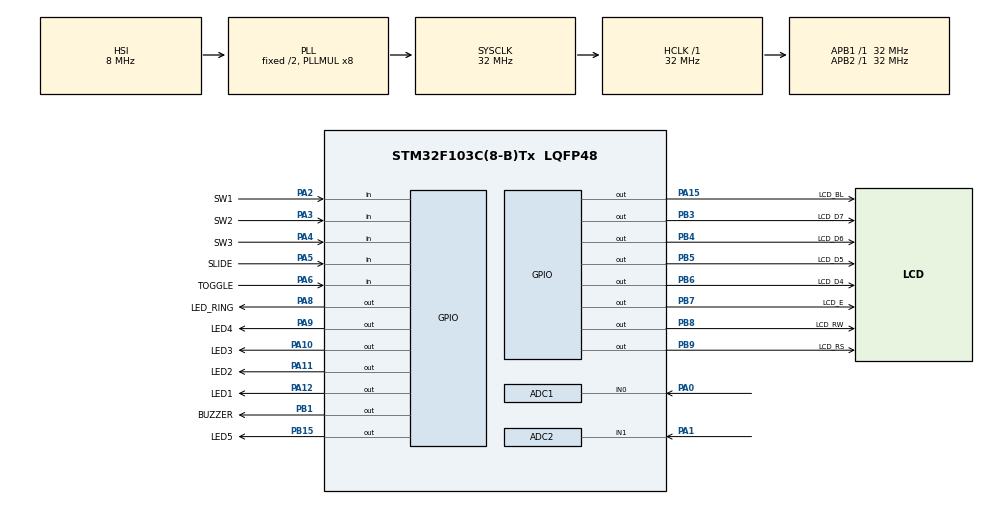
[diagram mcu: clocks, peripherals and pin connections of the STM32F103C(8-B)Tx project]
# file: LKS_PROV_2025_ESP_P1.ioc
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ADC1.Channel-0\#ChannelRegularConversion=ADC_CHANNEL_0
ADC1.ContinuousConvMode=ENABLE
ADC1.NbrOfConversionFlag=1
ADC1.Rank-0\#ChannelRegularConversion=1
ADC1.SamplingTime-0\#ChannelRegularConversion=ADC_SAMPLETIME_1CYCLE_5
ADC1.master=1
ADC2.Channel-0\#ChannelRegularConversion=ADC_CHANNEL_1
ADC2.ContinuousConvMode=ENABLE
ADC2.NbrOfConversionFlag=1
ADC2.Rank-0\#ChannelRegularConversion=1
ADC2.SamplingTime-0\#ChannelRegularConversion=ADC_SAMPLETIME_1CYCLE_5
Mcu.Family=STM32F1
Mcu.Name=STM32F103C(8-B)Tx
Mcu.Package=LQFP48
NVIC.PriorityGroup=NVIC_PRIORITYGROUP_4
PA0-WKUP.Signal=ADCx_IN0
PA1.Signal=ADCx_IN1
PA10.GPIO_Label=LED3
PA10.Signal=GPIO_Output
PA11.GPIO_Label=LED2
PA11.Signal=GPIO_Output
PA12.GPIO_Label=LED1
PA12.Signal=GPIO_Output
PA13.Mode=Serial_Wire
PA13.Signal=SYS_JTMS-SWDIO
PA14.Mode=Serial_Wire
PA14.Signal=SYS_JTCK-SWCLK
PA15.GPIO_Label=LCD_BL
PA15.Signal=GPIO_Output
PA2.GPIO_Label=SW1
PA2.GPIO_PuPd=GPIO_PULLUP
PA2.Signal=GPIO_Input
PA3.GPIO_Label=SW2
PA3.GPIO_PuPd=GPIO_PULLUP
PA3.Signal=GPIO_Input
PA4.GPIO_Label=SW3
PA4.GPIO_PuPd=GPIO_PULLUP
PA4.Signal=GPIO_Input
PA5.GPIO_Label=SLIDE
PA5.GPIO_PuPd=GPIO_PULLUP
PA5.Signal=GPIO_Input
PA6.GPIO_Label=TOGGLE
PA6.GPIO_PuPd=GPIO_PULLUP
PA6.Signal=GPIO_Input
PA8.GPIO_Label=LED_RING
PA8.Signal=GPIO_Output
PA9.GPIO_Label=LED4
PA9.Signal=GPIO_Output
PB1.GPIO_Label=BUZZER
PB1.Signal=GPIO_Output
PB15.GPIO_Label=LED5
PB15.Signal=GPIO_Output
PB3.GPIO_Label=LCD_D7
PB3.Signal=GPIO_Output
PB4.GPIO_Label=LCD_D6
PB4.Signal=GPIO_Output
PB5.GPIO_Label=LCD_D5
PB5.Signal=GPIO_Output
PB6.GPIO_Label=LCD_D4
PB6.Signal=GPIO_Output
PB7.GPIO_Label=LCD_E
PB7.Signal=GPIO_Output
PB8.GPIO_Label=LCD_RW
PB8.Signal=GPIO_Output
PB9.GPIO_Label=LCD_RS
PB9.Signal=GPIO_Output
PD0-OSC_IN.Mode=HSE-External-Oscillator
PD0-OSC_IN.Signal=RCC_OSC_IN
PD1-OSC_OUT.Mode=HSE-External-Oscillator
PD1-OSC_OUT.Signal=RCC_OSC_OUT
ProjectManager.HeapSize=0x200
ProjectManager.StackSize=0x400
ProjectManager.TargetToolchain=STM32CubeIDE
RCC.ADCPresc=RCC_ADCPCLK2_DIV4
RCC.AHBFreq_Value=32000000
RCC.APB1Freq_Value=32000000
RCC.APB1TimFreq_Value=32000000
RCC.APB2Freq_Value=32000000
RCC.APB2TimFreq_Value=32000000
RCC.HCLKFreq_Value=32000000
RCC.PLLMUL=RCC_PLL_MUL8
RCC.SYSCLKFreq_VALUE=32000000
RCC.SYSCLKSource=RCC_SYSCLKSOURCE_PLLCLK
RCC.USBFreq_Value=32000000
SH.ADCx_IN0.0=ADC1_IN0,IN0
SH.ADCx_IN1.0=ADC2_IN1,IN1
board=custom

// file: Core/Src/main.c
/* USER CODE BEGIN Header */
/**
  ******************************************************************************
  * @file           : main.c
  * @brief          : Main program body
  ******************************************************************************
  * @attention
  *
  * Copyright (c) 2024 STMicroelectronics.
  * All rights reserved.
  *
  * This software is licensed under terms that can be found in the LICENSE file
  * in the root directory of this software component.
  * If no LICENSE file comes with this software, it is provided AS-IS.
  *
  ******************************************************************************
  */
/* USER CODE END Header */
#include "main.h"

/* USER CODE BEGIN PD */
#define LCD_RS_Pin GPIO_PIN_9
#define LCD_RS_Port GPIOB
#define LCD_RW_Pin GPIO_PIN_8
#define LCD_RW_Port GPIOB
#define LCD_E_Pin GPIO_PIN_7
#define LCD_E_Port GPIOB
#define LCD_D4_Pin GPIO_PIN_6
#define LCD_D4_Port GPIOB
#define LCD_D5_Pin GPIO_PIN_5
#define LCD_D5_Port GPIOB
#define LCD_D6_Pin GPIO_PIN_4
#define LCD_D6_Port GPIOB
#define LCD_D7_Pin GPIO_PIN_3
#define LCD_D7_Port GPIOB
#define LCD_BL_Pin GPIO_PIN_15
#define LCD_BL_Port GPIOA
/* USER CODE END PD */

ADC_HandleTypeDef hadc1;
ADC_HandleTypeDef hadc2;

/* USER CODE BEGIN PV */
uint8_t maju = 0;
_Bool mA, mB, mC, mw4, mw5, pb1, pb2, pb3, buzzer;
uint32_t pot;
uint32_t pov;
char  lcd_buffer[15];
char lcd_bu[15];
uint32_t delay;
/* USER CODE END PV */

void SystemClock_Config(void);
static void MX_GPIO_Init(void);
static void MX_ADC1_Init(void);
static void MX_ADC2_Init(void);
/* USER CODE BEGIN PFP */
uint32_t read_ADC(){
	uint16_t adc;
	HAL_ADC_Start(&hadc2);
	HAL_ADC_PollForConversion(&hadc2, 100);
	adc=HAL_ADC_GetValue(&hadc2);
	HAL_ADC_Stop(&hadc2);

	return adc;
}
/* USER CODE END PFP */

/* USER CODE BEGIN 0 */
void lcd_bit(uint8_t data, uint8_t rs_state){
  	HAL_GPIO_WritePin(LCD_RS_Port, LCD_RS_Pin, rs_state);
  	HAL_GPIO_WritePin(LCD_D7_Port, LCD_D7_Pin, (data >> 3) & 0x01);
  	HAL_GPIO_WritePin(LCD_D6_Port, LCD_D6_Pin, (data >> 2) & 0x01);
  	HAL_GPIO_WritePin(LCD_D5_Port, LCD_D5_Pin, (data >> 1) & 0x01);
  	HAL_GPIO_WritePin(LCD_D4_Port, LCD_D4_Pin, (data >> 0) & 0x01);
  	HAL_GPIO_WritePin(LCD_E_Port, LCD_E_Pin, GPIO_PIN_SET);
  	for(volatile uint16_t i=0; i<7200; i++);
  	HAL_GPIO_WritePin(LCD_E_Port, LCD_E_Pin, GPIO_PIN_RESET);
  }

  void lcd_cmd(uint8_t cmd) {
      lcd_bit((cmd >> 4) & 0x0F, 0);
      lcd_bit(cmd & 0x0F, 0);
  }

  void lcd_data(uint8_t data) {
      lcd_bit((data >> 4) & 0x0F, 1);
      lcd_bit(data & 0x0F, 1);
  }
  void LCD_Init(void) {
      HAL_Delay(100);
      lcd_cmd(0x33);
      lcd_cmd(0x32);
      lcd_cmd(0x28);
      lcd_cmd(0x08);
      lcd_cmd(0x06);
      lcd_cmd(0x0C);
      lcd_cmd(0x01);
      HAL_Delay(2);
  }

  void LCD_SetCursor(uint8_t x, uint8_t y) {
      uint8_t col = 0x80;
      switch (y) {
          case 0: col |= 0x00; break;
          case 1: col |= 0x40; break;
          case 2: col |= 0x14; break;
          case 3: col |= 0x54; break;
      }
      col += x;
      lcd_cmd(col);
  }

  void LCD_Clear(void) {
      lcd_cmd(0x01);
      HAL_Delay(2);
  }

  void LCD_SetBacklight(_Bool state) {
      HAL_GPIO_WritePin(LCD_BL_Port, LCD_BL_Pin, state);
  }

  void LCD_Print(char *str) {
      while (*str) lcd_data(*str++);
  }

/* USER CODE END 0 */

int main(void)
{

  /* MCU Configuration--------------------------------------------------------*/

  /* Reset of all peripherals, Initializes the Flash interface and the Systick. */
  HAL_Init();

  /* Configure the system clock */
  SystemClock_Config();

  /* Initialize all configured peripherals */
  MX_GPIO_Init();
  MX_ADC1_Init();
  MX_ADC2_Init();
  /* USER CODE BEGIN 2 */

  //	insert your setup code here.....
  LCD_Init();
  LCD_SetBacklight(1);

  /* USER CODE END 2 */

  /* Infinite loop */
  /* USER CODE BEGIN WHILE */
  while (1)
  {
	  uint32_t waktu = HAL_GetTick();
	  //	insert your loop code here.....
	  if(HAL_GPIO_ReadPin(TOGGLE_GPIO_Port, TOGGLE_Pin)==0){
		  mw4=1;
		  if(mw4==1){
		  LCD_Clear();
		  }
	  }
	  if(HAL_GPIO_ReadPin(SLIDE_GPIO_Port, SLIDE_Pin)==0){
	  		  mw5=1;
	  		if(mw5==1){
	  				  LCD_Clear();
	  				  }
	  	  }
	  else{
		  mw4=0;
		  mw5=0;

	  }
// suara saat tombol ditekan
	if(HAL_GPIO_ReadPin(SW1_GPIO_Port, SW1_Pin)==0 && pb1 == 0){
		pb1=1;
	}
		if(HAL_GPIO_ReadPin(SW1_GPIO_Port, SW1_Pin)==1 && pb1==1){
			pb1=0;
			HAL_GPIO_WritePin(BUZZER_GPIO_Port, BUZZER_Pin, 0);
			delay=waktu;
			buzzer=1;
		}
	if(HAL_GPIO_ReadPin(SW2_GPIO_Port, SW2_Pin)==0 && pb2 == 0){
		pb2=1;
	}
		if(HAL_GPIO_ReadPin(SW2_GPIO_Port, SW2_Pin)==1 && pb2==1){
			pb2=0;
			HAL_GPIO_WritePin(BUZZER_GPIO_Port, BUZZER_Pin, 0);
			delay=waktu;
			buzzer=1;
		}
	if(HAL_GPIO_ReadPin(SW3_GPIO_Port, SW3_Pin)==0 && pb3 == 0){
		pb3=1;
	}
		if(HAL_GPIO_ReadPin(SW3_GPIO_Port, SW3_Pin)==1 && pb3==1){
			pb3=0;
			HAL_GPIO_WritePin(BUZZER_GPIO_Port, BUZZER_Pin, 0);
			delay=waktu;
			buzzer=1;
		}
if(buzzer == 1){
	if(waktu - delay >= 100){
		HAL_GPIO_WritePin(BUZZER_GPIO_Port, BUZZER_Pin, 0);
		buzzer = 0;
	}
}
else {
HAL_GPIO_WritePin(BUZZER_GPIO_Port, BUZZER_Pin, 0);
}

// tampilan LCD --------------------
LCD_SetCursor(0,0);
 LCD_Print("Peserta No. 06");
 LCD_SetCursor(1,1);
 LCD_Print("SW4:     SW5:");
 LCD_SetCursor(6,1);
 sprintf(lcd_buffer, "%01d", mw4);
 LCD_Print(lcd_buffer);
 LCD_SetCursor(15,1);
 sprintf(lcd_bu, "%01d", mw5);
 LCD_Print(lcd_bu);

//if(HAL_GPIO_ReadPin(SW1_GPIO_Port, SW1_Pin)==0 && mA == 0){
//	mA=1;
//}
//if(HAL_GPIO_ReadPin(SW1_GPIO_Port, SW1_Pin)==1 && mA == 1){
//	maju++;
//	mA=0;
//}
//if(HAL_GPIO_ReadPin(SW2_GPIO_Port, SW2_Pin)==0 && mB == 0){
//	mB=1;
//}
//if(HAL_GPIO_ReadPin(SW2_GPIO_Port, SW2_Pin)==1 && mB == 1){
//	maju--;
//	mB=0;
//}
//if(HAL_GPIO_ReadPin(SW3_GPIO_Port, SW3_Pin)==0 && mC == 0){
//	mC=1;
//}
//if(HAL_GPIO_ReadPin(SW3_GPIO_Port, SW3_Pin)==1 && mC == 1){
//	maju=0;
//	mC=0;
//}
pot = read_ADC();
 pov = (4020*4)/pot;

if(maju>5){
	maju=0;
}
if(maju<0){
	maju=0;
}

if(pot < 1100 ){
HAL_GPIO_WritePin(LED1_GPIO_Port, LED1_Pin, 1);
HAL_GPIO_WritePin(LED2_GPIO_Port, LED2_Pin, 1);
HAL_GPIO_WritePin(LED3_GPIO_Port, LED3_Pin, 1);
HAL_GPIO_WritePin(LED4_GPIO_Port, LED4_Pin, 1);
HAL_GPIO_WritePin(LED5_GPIO_Port, LED5_Pin, 1);
}

if(pot > 1800 ){
HAL_GPIO_WritePin(LED1_GPIO_Port, LED1_Pin, 0);
HAL_GPIO_WritePin(LED2_GPIO_Port, LED2_Pin, 0);
HAL_GPIO_WritePin(LED3_GPIO_Port, LED3_Pin, 0);
HAL_GPIO_WritePin(LED4_GPIO_Port, LED4_Pin, 0);
HAL_GPIO_WritePin(LED5_GPIO_Port, LED5_Pin, 0);
}
//if(maju == 1){
//HAL_GPIO_WritePin(LED1_GPIO_Port, LED1_Pin, 1);
//HAL_GPIO_WritePin(LED2_GPIO_Port, LED2_Pin, 1);
//HAL_GPIO_WritePin(LED3_GPIO_Port, LED3_Pin, 1);
//HAL_GPIO_WritePin(LED4_GPIO_Port, LED4_Pin, 1);
//HAL_GPIO_WritePin(LED5_GPIO_Port, LED5_Pin, 1);
//HAL_Delay(250);
//HAL_GPIO_WritePin(LED1_GPIO_Port, LED1_Pin, 1);
//HAL_GPIO_WritePin(LED2_GPIO_Port, LED2_Pin, 1);
//HAL_GPIO_WritePin(LED3_GPIO_Port, LED3_Pin, 1);
//HAL_GPIO_WritePin(LED4_GPIO_Port, LED4_Pin, 1);
//HAL_GPIO_WritePin(LED5_GPIO_Port, LED5_Pin, 0);
//HAL_Delay(250);
//HAL_GPIO_WritePin(LED1_GPIO_Port, LED1_Pin, 1);
//HAL_GPIO_WritePin(LED2_GPIO_Port, LED2_Pin, 1);
//HAL_GPIO_WritePin(LED3_GPIO_Port, LED3_Pin, 1);
//HAL_GPIO_WritePin(LED4_GPIO_Port, LED4_Pin, 0);
//HAL_GPIO_WritePin(LED5_GPIO_Port, LED5_Pin, 1);
//HAL_Delay(250);
//HAL_GPIO_WritePin(LED1_GPIO_Port, LED1_Pin, 1);
//HAL_GPIO_WritePin(LED2_GPIO_Port, LED2_Pin, 1);
//HAL_GPIO_WritePin(LED3_GPIO_Port, LED3_Pin, 0);
//HAL_GPIO_WritePin(LED4_GPIO_Port, LED4_Pin, 1);
//HAL_GPIO_WritePin(LED5_GPIO_Port, LED5_Pin, 1);
//HAL_Delay(250);
//HAL_GPIO_WritePin(LED1_GPIO_Port, LED1_Pin, 1);
//HAL_GPIO_WritePin(LED2_GPIO_Port, LED2_Pin, 0);
//HAL_GPIO_WritePin(LED3_GPIO_Port, LED3_Pin, 1);
//HAL_GPIO_WritePin(LED4_GPIO_Port, LED4_Pin, 1);
//HAL_GPIO_WritePin(LED5_GPIO_Port, LED5_Pin, 1);
//HAL_Delay(250);
//HAL_GPIO_WritePin(LED1_GPIO_Port, LED1_Pin, 0);
//HAL_GPIO_WritePin(LED2_GPIO_Port, LED2_Pin, 1);
//HAL_GPIO_WritePin(LED3_GPIO_Port, LED3_Pin, 1);
//HAL_GPIO_WritePin(LED4_GPIO_Port, LED4_Pin, 1);
//HAL_GPIO_WritePin(LED5_GPIO_Port, LED5_Pin, 1);
//HAL_Delay(250);
//maju = 0;
//
//}

  }

    /* USER CODE END WHILE */

}

void SystemClock_Config(void)
{
  RCC_OscInitTypeDef RCC_OscInitStruct = {0};
  RCC_ClkInitTypeDef RCC_ClkInitStruct = {0};
  RCC_PeriphCLKInitTypeDef PeriphClkInit = {0};

  /** Initializes the RCC Oscillators according to the specified parameters
  * in the RCC_OscInitTypeDef structure.
  */
  RCC_OscInitStruct.OscillatorType = RCC_OSCILLATORTYPE_HSI;
  RCC_OscInitStruct.HSIState = RCC_HSI_ON;
  RCC_OscInitStruct.HSICalibrationValue = RCC_HSICALIBRATION_DEFAULT;
  RCC_OscInitStruct.PLL.PLLState = RCC_PLL_ON;
  RCC_OscInitStruct.PLL.PLLSource = RCC_PLLSOURCE_HSI_DIV2;
  RCC_OscInitStruct.PLL.PLLMUL = RCC_PLL_MUL8;
  if (HAL_RCC_OscConfig(&RCC_OscInitStruct) != HAL_OK)
  {
    Error_Handler();
  }

  /** Initializes the CPU, AHB and APB buses clocks
  */
  RCC_ClkInitStruct.ClockType = RCC_CLOCKTYPE_HCLK|RCC_CLOCKTYPE_SYSCLK
                              |RCC_CLOCKTYPE_PCLK1|RCC_CLOCKTYPE_PCLK2;
  RCC_ClkInitStruct.SYSCLKSource = RCC_SYSCLKSOURCE_PLLCLK;
  RCC_ClkInitStruct.AHBCLKDivider = RCC_SYSCLK_DIV1;
  RCC_ClkInitStruct.APB1CLKDivider = RCC_HCLK_DIV1;
  RCC_ClkInitStruct.APB2CLKDivider = RCC_HCLK_DIV1;

  if (HAL_RCC_ClockConfig(&RCC_ClkInitStruct, FLASH_LATENCY_1) != HAL_OK)
  {
    Error_Handler();
  }
  PeriphClkInit.PeriphClockSelection = RCC_PERIPHCLK_ADC;
  PeriphClkInit.AdcClockSelection = RCC_ADCPCLK2_DIV4;
  if (HAL_RCCEx_PeriphCLKConfig(&PeriphClkInit) != HAL_OK)
  {
    Error_Handler();
  }
}

static void MX_ADC1_Init(void)
{

  ADC_ChannelConfTypeDef sConfig = {0};

  /** Common config
  */
  hadc1.Instance = ADC1;
  hadc1.Init.ScanConvMode = ADC_SCAN_DISABLE;
  hadc1.Init.ContinuousConvMode = ENABLE;
  hadc1.Init.DiscontinuousConvMode = DISABLE;
  hadc1.Init.ExternalTrigConv = ADC_SOFTWARE_START;
  hadc1.Init.DataAlign = ADC_DATAALIGN_RIGHT;
  hadc1.Init.NbrOfConversion = 1;
  if (HAL_ADC_Init(&hadc1) != HAL_OK)
  {
    Error_Handler();
  }

  /** Configure Regular Channel
  */
  sConfig.Channel = ADC_CHANNEL_0;
  sConfig.Rank = ADC_REGULAR_RANK_1;
  sConfig.SamplingTime = ADC_SAMPLETIME_1CYCLE_5;
  if (HAL_ADC_ConfigChannel(&hadc1, &sConfig) != HAL_OK)
  {
    Error_Handler();
  }

}

static void MX_ADC2_Init(void)
{

  ADC_ChannelConfTypeDef sConfig = {0};

  /** Common config
  */
  hadc2.Instance = ADC2;
  hadc2.Init.ScanConvMode = ADC_SCAN_DISABLE;
  hadc2.Init.ContinuousConvMode = ENABLE;
  hadc2.Init.DiscontinuousConvMode = DISABLE;
  hadc2.Init.ExternalTrigConv = ADC_SOFTWARE_START;
  hadc2.Init.DataAlign = ADC_DATAALIGN_RIGHT;
  hadc2.Init.NbrOfConversion = 1;
  if (HAL_ADC_Init(&hadc2) != HAL_OK)
  {
    Error_Handler();
  }

  /** Configure Regular Channel
  */
  sConfig.Channel = ADC_CHANNEL_1;
  sConfig.Rank = ADC_REGULAR_RANK_1;
  sConfig.SamplingTime = ADC_SAMPLETIME_1CYCLE_5;
  if (HAL_ADC_ConfigChannel(&hadc2, &sConfig) != HAL_OK)
  {
    Error_Handler();
  }

}

static void MX_GPIO_Init(void)
{
  GPIO_InitTypeDef GPIO_InitStruct = {0};

  /* GPIO Ports Clock Enable */
  __HAL_RCC_GPIOD_CLK_ENABLE();
  __HAL_RCC_GPIOA_CLK_ENABLE();
  __HAL_RCC_GPIOB_CLK_ENABLE();

  /*Configure GPIO pin Output Level */
  HAL_GPIO_WritePin(GPIOB, BUZZER_Pin|LED5_Pin|LCD_D7_Pin|LCD_D6_Pin
                          |LCD_D5_Pin|LCD_D4_Pin|LCD_E_Pin|LCD_RW_Pin
                          |LCD_RS_Pin, GPIO_PIN_RESET);

  /*Configure GPIO pin Output Level */
  HAL_GPIO_WritePin(GPIOA, LED_RING_Pin|LED4_Pin|LED3_Pin|LED2_Pin
                          |LED1_Pin|LCD_BL_Pin, GPIO_PIN_RESET);

  /*Configure GPIO pins : SW1_Pin SW2_Pin SW3_Pin SLIDE_Pin
                           TOGGLE_Pin */
  GPIO_InitStruct.Pin = SW1_Pin|SW2_Pin|SW3_Pin|SLIDE_Pin
                          |TOGGLE_Pin;
  GPIO_InitStruct.Mode = GPIO_MODE_INPUT;
  GPIO_InitStruct.Pull = GPIO_PULLUP;
  HAL_GPIO_Init(GPIOA, &GPIO_InitStruct);

  /*Configure GPIO pins : BUZZER_Pin LED5_Pin LCD_D7_Pin LCD_D6_Pin
                           LCD_D5_Pin LCD_D4_Pin LCD_E_Pin LCD_RW_Pin
                           LCD_RS_Pin */
  GPIO_InitStruct.Pin = BUZZER_Pin|LED5_Pin|LCD_D7_Pin|LCD_D6_Pin
                          |LCD_D5_Pin|LCD_D4_Pin|LCD_E_Pin|LCD_RW_Pin
                          |LCD_RS_Pin;
  GPIO_InitStruct.Mode = GPIO_MODE_OUTPUT_PP;
  GPIO_InitStruct.Pull = GPIO_NOPULL;
  GPIO_InitStruct.Speed = GPIO_SPEED_FREQ_LOW;
  HAL_GPIO_Init(GPIOB, &GPIO_InitStruct);

  /*Configure GPIO pins : LED_RING_Pin LED4_Pin LED3_Pin LED2_Pin
                           LED1_Pin LCD_BL_Pin */
  GPIO_InitStruct.Pin = LED_RING_Pin|LED4_Pin|LED3_Pin|LED2_Pin
                          |LED1_Pin|LCD_BL_Pin;
  GPIO_InitStruct.Mode = GPIO_MODE_OUTPUT_PP;
  GPIO_InitStruct.Pull = GPIO_NOPULL;
  GPIO_InitStruct.Speed = GPIO_SPEED_FREQ_LOW;
  HAL_GPIO_Init(GPIOA, &GPIO_InitStruct);

}

void Error_Handler(void)
{
  __disable_irq();
  while (1)
  {
  }
}
